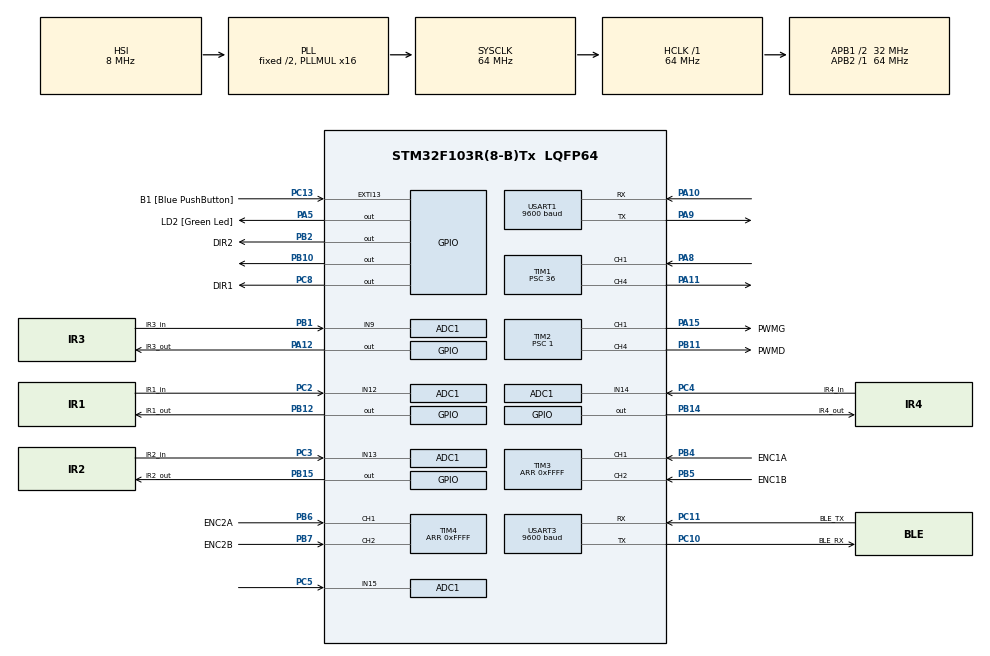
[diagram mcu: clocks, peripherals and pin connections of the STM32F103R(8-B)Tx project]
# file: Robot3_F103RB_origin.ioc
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ADC1.AWD1HighThreshold=4095
ADC1.AWD1ITMode=ENABLE
ADC1.AWD1LowThreshold=2457
ADC1.Channel-0\#ChannelRegularConversion=ADC_CHANNEL_9
ADC1.Channel-1\#ChannelRegularConversion=ADC_CHANNEL_12
ADC1.Channel-2\#ChannelRegularConversion=ADC_CHANNEL_13
ADC1.Channel-3\#ChannelRegularConversion=ADC_CHANNEL_14
ADC1.Channel-4\#ChannelRegularConversion=ADC_CHANNEL_15
ADC1.ContinuousConvMode=DISABLE
ADC1.DataAlign=ADC_DATAALIGN_RIGHT
ADC1.DiscontinuousConvMode=DISABLE
ADC1.EnableAnalogWatchDog=true
ADC1.EnableRegularConversion=ENABLE
ADC1.ExternalTrigConv=ADC_SOFTWARE_START
ADC1.InjNumberOfConversion=0
ADC1.NbrOfConversion=5
ADC1.NbrOfConversionFlag=1
ADC1.Rank-0\#ChannelRegularConversion=1
ADC1.Rank-1\#ChannelRegularConversion=2
ADC1.Rank-2\#ChannelRegularConversion=3
ADC1.Rank-3\#ChannelRegularConversion=4
ADC1.Rank-4\#ChannelRegularConversion=5
ADC1.SamplingTime-0\#ChannelRegularConversion=ADC_SAMPLETIME_239CYCLES_5
ADC1.SamplingTime-1\#ChannelRegularConversion=ADC_SAMPLETIME_239CYCLES_5
ADC1.SamplingTime-2\#ChannelRegularConversion=ADC_SAMPLETIME_239CYCLES_5
ADC1.SamplingTime-3\#ChannelRegularConversion=ADC_SAMPLETIME_239CYCLES_5
ADC1.SamplingTime-4\#ChannelRegularConversion=ADC_SAMPLETIME_239CYCLES_5
ADC1.ScanConvMode=ADC_SCAN_ENABLE
ADC1.WatchdogChannel=ADC_CHANNEL_15
ADC1.master=1
Dma.ADC1.0.Direction=DMA_PERIPH_TO_MEMORY
Dma.ADC1.0.Instance=DMA1_Channel1
Dma.ADC1.0.MemDataAlignment=DMA_MDATAALIGN_HALFWORD
Dma.ADC1.0.MemInc=DMA_MINC_ENABLE
Dma.ADC1.0.Mode=DMA_CIRCULAR
Dma.ADC1.0.PeriphDataAlignment=DMA_PDATAALIGN_HALFWORD
Dma.ADC1.0.PeriphInc=DMA_PINC_DISABLE
Dma.ADC1.0.Priority=DMA_PRIORITY_LOW
Dma.Request0=ADC1
Mcu.Family=STM32F1
Mcu.Name=STM32F103R(8-B)Tx
Mcu.Package=LQFP64
NVIC.ADC1_2_IRQn=true\:0\:0\:false\:false\:true\:true\:true
NVIC.DMA1_Channel1_IRQn=true\:0\:0\:false\:false\:true\:true\:true
NVIC.EXTI15_10_IRQn=true\:0\:0\:false\:true\:true\:1\:true\:true
NVIC.PriorityGroup=NVIC_PRIORITYGROUP_4
NVIC.TIM1_CC_IRQn=true\:0\:0\:false\:false\:true\:true\:true
NVIC.TIM2_IRQn=true\:0\:0\:false\:false\:true\:true\:true
NVIC.USART1_IRQn=true\:0\:0\:false\:false\:true\:true\:true
NVIC.USART3_IRQn=true\:0\:0\:false\:true\:true\:2\:true\:true
PA10.Mode=Asynchronous
PA10.Signal=USART1_RX
PA11.Signal=S_TIM1_CH4
PA12.GPIO_Label=IR3_out
PA12.Signal=GPIO_Output
PA13.GPIO_Label=TMS
PA13.Mode=Serial_Wire
PA13.Signal=SYS_JTMS-SWDIO
PA14.GPIO_Label=TCK
PA14.Mode=Serial_Wire
PA14.Signal=SYS_JTCK-SWCLK
PA15.GPIO_Label=PWMG
PA15.Signal=S_TIM2_CH1_ETR
PA2.GPIO_Label=USART_TX
PA2.GPIO_Mode=GPIO_MODE_AF_PP
PA2.GPIO_PuPd=GPIO_NOPULL
PA2.GPIO_Speed=GPIO_SPEED_FREQ_LOW
PA2.Signal=USART2_TX
PA3.GPIO_Label=USART_RX
PA3.GPIO_Mode=GPIO_MODE_AF_PP
PA3.GPIO_PuPd=GPIO_NOPULL
PA3.GPIO_Speed=GPIO_SPEED_FREQ_LOW
PA3.Signal=USART2_RX
PA5.GPIO_Label=LD2 [Green Led]
PA5.GPIO_ModeDefaultOutputPP=GPIO_MODE_OUTPUT_PP
PA5.GPIO_PuPd=GPIO_NOPULL
PA5.GPIO_Speed=GPIO_SPEED_FREQ_LOW
PA5.Signal=GPIO_Output
PA8.Signal=S_TIM1_CH1
PA9.Mode=Asynchronous
PA9.Signal=USART1_TX
PB1.GPIO_Label=IR3_in
PB1.Signal=ADCx_IN9
PB10.Signal=GPIO_Output
PB11.GPIO_Label=PWMD
PB11.Signal=S_TIM2_CH4
PB12.GPIO_Label=IR1_out
PB12.Signal=GPIO_Output
PB14.GPIO_Label=IR4_out
PB14.Signal=GPIO_Output
PB15.GPIO_Label=IR2_out
PB15.Signal=GPIO_Output
PB2.GPIO_Label=DIR2
PB2.Signal=GPIO_Output
PB3.GPIO_Label=SWO
PB3.Signal=SYS_JTDO-TRACESWO
PB4.GPIO_Label=ENC1A
PB4.Signal=S_TIM3_CH1
PB5.GPIO_Label=ENC1B
PB5.Signal=S_TIM3_CH2
PB6.GPIO_Label=ENC2A
PB6.Signal=S_TIM4_CH1
PB7.GPIO_Label=ENC2B
PB7.Signal=S_TIM4_CH2
PC10.GPIO_Label=BLE_RX
PC10.Mode=Asynchronous
PC10.Signal=USART3_TX
PC11.GPIO_Label=BLE_TX
PC11.Mode=Asynchronous
PC11.Signal=USART3_RX
PC13-TAMPER-RTC.GPIO_Label=B1 [Blue PushButton]
PC13-TAMPER-RTC.GPIO_ModeDefaultEXTI=GPIO_MODE_IT_FALLING
PC13-TAMPER-RTC.GPIO_PuPd=GPIO_NOPULL
PC13-TAMPER-RTC.Signal=GPXTI13
PC14-OSC32_IN.Signal=RCC_OSC32_IN
PC15-OSC32_OUT.Signal=RCC_OSC32_OUT
PC2.GPIO_Label=IR1_in
PC2.Signal=ADCx_IN12
PC3.GPIO_Label=IR2_in
PC3.Signal=ADCx_IN13
PC4.GPIO_Label=IR4_in
PC4.Signal=ADCx_IN14
PC5.Signal=ADCx_IN15
PC8.GPIO_Label=DIR1
PC8.Signal=GPIO_Output
PD0-OSC_IN.Signal=RCC_OSC_IN
PD1-OSC_OUT.Signal=RCC_OSC_OUT
ProjectManager.HeapSize=0x200
ProjectManager.StackSize=0x400
ProjectManager.TargetToolchain=STM32CubeIDE
RCC.ADCPresc=RCC_ADCPCLK2_DIV8
RCC.AHBFreq_Value=64000000
RCC.APB1CLKDivider=RCC_HCLK_DIV2
RCC.APB1Freq_Value=32000000
RCC.APB1TimFreq_Value=64000000
RCC.APB2Freq_Value=64000000
RCC.APB2TimFreq_Value=64000000
RCC.HCLKFreq_Value=64000000
RCC.PLLMUL=RCC_PLL_MUL16
RCC.SYSCLKFreq_VALUE=64000000
RCC.SYSCLKSource=RCC_SYSCLKSOURCE_PLLCLK
RCC.USBFreq_Value=64000000
SH.ADCx_IN12.0=ADC1_IN12,IN12
SH.ADCx_IN13.0=ADC1_IN13,IN13
SH.ADCx_IN14.0=ADC1_IN14,IN14
SH.ADCx_IN15.0=ADC1_IN15,IN15
SH.ADCx_IN9.0=ADC1_IN9,IN9
SH.S_TIM1_CH1.0=TIM1_CH1,PWM_Input_1
SH.S_TIM1_CH4.0=TIM1_CH4,PWM Generation4 CH4
SH.S_TIM2_CH1_ETR.0=TIM2_CH1,PWM Generation1 CH1
SH.S_TIM2_CH4.0=TIM2_CH4,PWM Generation4 CH4
SH.S_TIM3_CH1.0=TIM3_CH1,Encoder_Interface
SH.S_TIM3_CH2.0=TIM3_CH2,Encoder_Interface
SH.S_TIM4_CH1.0=TIM4_CH1,Encoder_Interface
SH.S_TIM4_CH2.0=TIM4_CH2,Encoder_Interface
TIM1.AutoReloadPreload=TIM_AUTORELOAD_PRELOAD_ENABLE
TIM1.Channel-PWM\ Generation4\ CH4=TIM_CHANNEL_4
TIM1.ICFilter_1=6
TIM1.ICFilter_2=6
TIM1.Prescaler=36
TIM1.Pulse-PWM\ Generation4\ CH4=2595
TIM2.AutoReloadPreload=TIM_AUTORELOAD_PRELOAD_DISABLE
TIM2.Channel-PWM\ Generation1\ CH1=TIM_CHANNEL_1
TIM2.Channel-PWM\ Generation4\ CH4=TIM_CHANNEL_4
TIM2.Period=64000
TIM2.Prescaler=1
TIM3.AutoReloadPreload=TIM_AUTORELOAD_PRELOAD_ENABLE
TIM3.EncoderMode=TIM_ENCODERMODE_TI12
TIM3.IC1Filter=8
TIM3.IC1Polarity=TIM_ICPOLARITY_RISING
TIM3.IC2Filter=8
TIM3.IC2Polarity=TIM_ICPOLARITY_RISING
TIM3.Period=0xFFFF
TIM4.AutoReloadPreload=TIM_AUTORELOAD_PRELOAD_ENABLE
TIM4.EncoderMode=TIM_ENCODERMODE_TI12
TIM4.IC1Filter=8
TIM4.IC1Polarity=TIM_ICPOLARITY_RISING
TIM4.IC2Filter=8
TIM4.IC2Polarity=TIM_ICPOLARITY_RISING
TIM4.Period=0xFFFF
USART1.BaudRate=9600
USART1.VirtualMode=VM_ASYNC
USART3.BaudRate=9600
USART3.VirtualMode=VM_ASYNC
VP_TIM1_VS_ClockSourceINT.Mode=Internal
VP_TIM2_VS_ClockSourceINT.Mode=Internal
board=NUCLEO-F103RB

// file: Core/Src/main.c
/* USER CODE BEGIN Header */
/**
  ******************************************************************************
  * @file           : main.c
  * @brief          : Main program body
  ******************************************************************************
  * @attention
  *
  * <h2><center>&copy; Copyright (c) 2020 STMicroelectronics.
  * All rights reserved.</center></h2>
  *
  * This software component is licensed by ST under BSD 3-Clause license,
  * the "License"; You may not use this file except in compliance with the
  * License. You may obtain a copy of the License at:
  *                        opensource.org/licenses/BSD-3-Clause
  *
  ******************************************************************************
  */
/* USER CODE END Header */
#include "main.h"
#include "adc.h"
#include "dma.h"
#include "tim.h"
#include "usart.h"
#include "gpio.h"
#include "stdlib.h"

/* USER CODE BEGIN Includes */
#include <stdlib.h>
#include <stdio.h>
#include <stdbool.h>
#include <time.h>
/* USER CODE END Includes */

/* USER CODE BEGIN PV */
#define AVANCE 	GPIO_PIN_SET
#define RECULE  GPIO_PIN_RESET
#define POURCENT 640
#define Seuil_Dist_4 1600 // corespond à 10 cm.
#define Seuil_Dist_3 1600
#define Seuil_Dist_1 1600
#define Seuil_Dist_2 1600
#define V1 38
#define V2 56
#define V3 76
#define Vmax 95
#define T_2_S 1000 //( pwm période = 2 ms ) sonar
#define T_200_MS 100
#define T_2000_MS 1000
#define CKp_D 100  //80 Robot1
#define CKp_G 100  //80 Robot1
#define CKi_D 80  //50 Robot1
#define CKi_G 80  //50 Robot1
#define CKd_D 0
#define CKd_G 0
#define DELTA 0x50
//added define
#define T_50_MS 25 // autopilotage cycle
#define Servo_Z 4000 //4400 angle 180
#define Servo_Y 800 //880 angle 90
#define Servo_X 2200 //2500 angle zero

#define T_WAIT_ADD 200 //wait for address
#define Top_50cm 867//877 // 19 pulses 1tour
#define Top_90degL 420 // on peut faire des ajustements sur ces trois valeur pour régler la direction du mvt robot
#define Top_90degR 390
#define ConvCst 0.176 //0.176
#define RegX 200
#define BrdHead 0xFFFF //brodcasthead
#define DemMsg 0xEEDD  // demande addresse
//add
#define Add16 0xBFBF  //to change for each robot
#define sonar50cm 5100//5028

enum CMDE {
	START, STOP,
	AVANT, ARRIERE,
	DROITE, GAUCHE,
	Cmd_PARK, Cmd_Att_PARK
};
volatile enum CMDE CMDE;
enum MODE {
	SLEEP, ACTIF, Park, Att_Park
};
//added enum
//enum SELECT_MUR {mur_a,mur_g,mur_d};
//volatile enum SELECT_MUR Select_Mur ;//= mur_d;

volatile enum MODE Mode;
volatile unsigned char New_CMDE = 0;
volatile uint16_t Dist_ACS_1, Dist_ACS_2, Dist_ACS_3, Dist_ACS_4;
volatile unsigned int Time = 0;
volatile unsigned int Tech = 0;

//added time counter
volatile unsigned int T_AP = 0;
volatile unsigned int T_servo = 0;
volatile unsigned int T_phase = 0;
volatile unsigned int T_rnd =0;
volatile unsigned int ServoSel=0;
volatile unsigned int calibration=0;
uint16_t adc_buffer[10]; //[8]
uint16_t Buff_Dist[8];
uint8_t BLUE_RX; //bluetooth reception
//added1 variables
uint16_t Xbee_RX[4]; // 4 case? CHACUNE= 16 bits=2octects
uint16_t Xbee_TX[4];
uint16_t header;
//uint8_t Ack_TX[4]={'R','E','A','D'};
//uint8_t Brd_head[2] = {'F','F'};
//uint16_t Brd_head = 0xFFFF;

uint16_t Add_dest;
uint16_t sonarDist =0 ;
uint16_t DistX =0;//1883;
uint16_t DistY =0;//4277;
uint16_t DistZ =0;//4500;
uint16_t sonarWidth =0;

char is_turned = 0;
int16_t DistD_base=0,DistG_base =0;
int16_t currentTopR=0;
int16_t currentTopL=0;
volatile char received_Dem =0;
volatile char received_Coord =0;
volatile char received_Add=0;
volatile char is_first=1;
volatile char received_other=0;
int cpt_servo = 0;

uint16_t _DirG, _DirD, CVitG, CVitD, DirD, DirG;
uint16_t _CVitD = 0;
uint16_t _CVitG = 0;
uint16_t VitD, VitG;
int16_t DistD, DistG;
int16_t DistD_old = 0;
int16_t DistG_old = 0;
int Cmde_VitD = 0;
int Cmde_VitG = 0;
unsigned long Dist_parcours = 0;
volatile uint32_t Dist_Obst;
uint32_t Dist_Obst_;
uint32_t Dist_Obst_cm;
uint32_t Dist;
uint8_t UNE_FOIS = 1;
uint32_t OV = 0;
int t_wait=0;
unsigned int T_WAIT;
uint16_t RegServoX=0,RegServoY=0,RegServoZ=0;
//srand(T_rnd);

/* USER CODE END PV */

void SystemClock_Config(void);
static void MX_NVIC_Init(void);
/* USER CODE BEGIN PFP */
void Gestion_Commandes(void);
void regulateur(void);
void controle(void);
void Calcul_Vit(void);
void ACS(void);
//added funct
void Pilotage_Auto(void); //park_assist
void LD2(bool); //test d'envoi
void testServo(void);
/* USER CODE END PFP */

int main(void)
{

  /* MCU Configuration--------------------------------------------------------*/

  /* Reset of all peripherals, Initializes the Flash interface and the Systick. */
  HAL_Init();
  /* USER CODE BEGIN Init */
  Dist_Obst = 0;
  /* USER CODE END Init */

  /* Configure the system clock */
  SystemClock_Config();
  /* Initialize all configured peripherals */
  MX_GPIO_Init();
  MX_DMA_Init();
  MX_ADC1_Init();
  MX_TIM2_Init();
  MX_TIM3_Init();
  MX_TIM4_Init();
  MX_USART3_UART_Init();
  MX_TIM1_Init();
  MX_USART1_UART_Init();
  /* Initialize interrupts */
  MX_NVIC_Init();
  /* USER CODE BEGIN 2 */
  	  	HAL_SuspendTick(); // suppresion des Tick interrupt pour le mode sleep.

    	HAL_TIM_PWM_Start(&htim2, TIM_CHANNEL_4);  // Start PWM motor
    	HAL_TIM_PWM_Start(&htim2, TIM_CHANNEL_1);
    	CMDE = STOP;
    	New_CMDE = 1;
    	HAL_TIM_Base_Start_IT(&htim2);  // Start IT sur font montant PWM
    	HAL_TIM_Encoder_Start(&htim3, TIM_CHANNEL_ALL); //encodeur
    	HAL_TIM_Encoder_Start(&htim4, TIM_CHANNEL_ALL); //encodeur
    	HAL_UART_Receive_IT(&huart3, &BLUE_RX, 1); //bluetooth

    	//added2
    	HAL_TIM_IC_Start_IT(&htim1, TIM_CHANNEL_2);//Capture frt desc
    	HAL_TIM_PWM_Start(&htim1,TIM_CHANNEL_4);//PWM
    	HAL_UART_Receive_IT(&huart1, Xbee_RX,8); // 8bytes, Xbee sur uart1
    	__HAL_TIM_SET_COMPARE (&htim1,TIM_CHANNEL_4,Servo_X); //initialement à la position zero
  /* USER CODE END 2 */

  /* Infinite loop */
  /* USER CODE BEGIN WHILE */
  while (1)
  {
	  Gestion_Commandes();
	  controle();
	  Pilotage_Auto();
    /* USER CODE END WHILE */

  }
}

void SystemClock_Config(void)
{
  RCC_OscInitTypeDef RCC_OscInitStruct = {0};
  RCC_ClkInitTypeDef RCC_ClkInitStruct = {0};
  RCC_PeriphCLKInitTypeDef PeriphClkInit = {0};
  /** Initializes the RCC Oscillators according to the specified parameters
  * in the RCC_OscInitTypeDef structure.
  */
  RCC_OscInitStruct.OscillatorType = RCC_OSCILLATORTYPE_HSI;
  RCC_OscInitStruct.HSIState = RCC_HSI_ON;
  RCC_OscInitStruct.HSICalibrationValue = RCC_HSICALIBRATION_DEFAULT;
  RCC_OscInitStruct.PLL.PLLState = RCC_PLL_ON;
  RCC_OscInitStruct.PLL.PLLSource = RCC_PLLSOURCE_HSI_DIV2;
  RCC_OscInitStruct.PLL.PLLMUL = RCC_PLL_MUL16;
  if (HAL_RCC_OscConfig(&RCC_OscInitStruct) != HAL_OK)
  {
    Error_Handler();
  }
  /** Initializes the CPU, AHB and APB buses clocks
  */
  RCC_ClkInitStruct.ClockType = RCC_CLOCKTYPE_HCLK|RCC_CLOCKTYPE_SYSCLK
                              |RCC_CLOCKTYPE_PCLK1|RCC_CLOCKTYPE_PCLK2;
  RCC_ClkInitStruct.SYSCLKSource = RCC_SYSCLKSOURCE_PLLCLK;
  RCC_ClkInitStruct.AHBCLKDivider = RCC_SYSCLK_DIV1;
  RCC_ClkInitStruct.APB1CLKDivider = RCC_HCLK_DIV2;
  RCC_ClkInitStruct.APB2CLKDivider = RCC_HCLK_DIV1;

  if (HAL_RCC_ClockConfig(&RCC_ClkInitStruct, FLASH_LATENCY_2) != HAL_OK)
  {
    Error_Handler();
  }
  PeriphClkInit.PeriphClockSelection = RCC_PERIPHCLK_ADC;
  PeriphClkInit.AdcClockSelection = RCC_ADCPCLK2_DIV8;
  if (HAL_RCCEx_PeriphCLKConfig(&PeriphClkInit) != HAL_OK)
  {
    Error_Handler();
  }
}

/**
  * @brief NVIC Configuration.
  * @retval None
  */
static void MX_NVIC_Init(void)
{
  /* EXTI15_10_IRQn interrupt configuration */
  HAL_NVIC_SetPriority(EXTI15_10_IRQn, 0, 0);
  HAL_NVIC_EnableIRQ(EXTI15_10_IRQn);
  /* USART3_IRQn interrupt configuration */
  HAL_NVIC_SetPriority(USART3_IRQn, 0, 0);
  HAL_NVIC_EnableIRQ(USART3_IRQn);
}

/* USER CODE BEGIN 4 */
void Gestion_Commandes(void) {
	enum ETAT {
		VEILLE, ARRET,
		AV1, AV2, AV3, RV1, RV2, RV3,
		DV1, DV2, DV3, GV1, GV2, GV3,
		PARK, Att_PARK
	};
	static enum ETAT Etat = VEILLE;

	if (New_CMDE) {
			New_CMDE = 0;
		switch (CMDE) {
			case STOP: { _CVitD = _CVitG = 0;
				// Mise en sommeil: STOP mode , réveil via IT BP1
				Etat = VEILLE; Mode = SLEEP;
				break;
			}
			case START: {
				// réveil sytème grace à l'IT BP1
				Etat = ARRET; Mode = SLEEP;
				break;
			}
			case AVANT: {
				switch (Etat) {
					case VEILLE: {
						Etat = VEILLE; Mode = SLEEP;
						break;
					}
					case ARRET: {
						_DirG = AVANCE; _DirD = AVANCE; _CVitG = V1; _CVitD = V1; Etat = AV1; Mode = ACTIF;
						break;
					}
					case AV1: {
						_DirG = AVANCE; _DirD = AVANCE; _CVitG = V2; _CVitD = V2; Etat = AV2; Mode = ACTIF;
						break;
					}
					case AV2: {
						_DirG = AVANCE; _DirD = AVANCE; _CVitG = V3; _CVitD = V3 ; Etat = AV3; Mode = ACTIF;
						break;
					}
					case AV3: {
						_DirG = AVANCE; _DirD = AVANCE; _CVitG = V3; _CVitD = V3 ; Etat = AV3; Mode = ACTIF;
						break;
					}
					case RV1: {
						_DirG = RECULE; _DirD = RECULE; _CVitG = 0; _CVitD = 0; Etat = ARRET; Mode = SLEEP;
						break;
					}
					case RV2: {
						_DirG = RECULE; _DirD = RECULE; _CVitG = V1; _CVitD = V1; Etat = RV1; Mode = ACTIF;
						break;
					}
					case RV3: {
						_DirG = RECULE; _DirD = RECULE; _CVitG = V2; _CVitD = V2; Etat = RV2; Mode = ACTIF;
						break;
					}
					case DV1: {
						_DirG = AVANCE; _DirD = AVANCE; _CVitG = V1; _CVitD = V1; Etat = AV1; Mode = ACTIF;
						break;
					}
					case DV2: {
						_DirG = AVANCE; _DirD = AVANCE; _CVitG = V2; _CVitD = V2; Etat = AV2; Mode = ACTIF;
						break;
					}
					case DV3: {
						_DirG = AVANCE; _DirD = AVANCE; _CVitG = V3; _CVitD = V3; Etat = AV3; Mode = ACTIF;
						break;
					}
					case GV1: {
						_DirG = AVANCE; _DirD = AVANCE; _CVitG = V1; _CVitD = V1; Etat = AV2; Mode = ACTIF;
						break;
					}
					case GV2: {
						_DirG = AVANCE; _DirD = AVANCE; _CVitG = V2; _CVitD = V2; Etat = AV2; Mode = ACTIF;
						break;
					}
					case GV3: {
						_DirG = AVANCE; _DirD = AVANCE; _CVitG = V3; _CVitD = V3; Etat = AV3; Mode = ACTIF;
						break;
					}
					case Att_PARK:{
						_DirG = AVANCE; _DirD = AVANCE; _CVitG = V2; _CVitD = V2; Etat = Att_PARK ; Mode = ACTIF;
						break;
					}
				}
				break;
			}
			case ARRIERE: {
				switch (Etat) {
					case VEILLE: {
						Etat = VEILLE; Mode = SLEEP;
						break;
					}
					case ARRET: {
						_DirG = RECULE; _DirD = RECULE; _CVitG = V1; _CVitD = V1; Etat = RV1; Mode = ACTIF;
						break;
					}
					case AV1: {
						_DirG = AVANCE; _DirD = AVANCE; _CVitG = 0; _CVitD = 0; Etat = ARRET; Mode = SLEEP;
						break;
					}
					case AV2: {
						_DirG = AVANCE; _DirD = AVANCE; _CVitG = V1; _CVitD = V1; Etat = AV1; Mode = ACTIF;
						break;
					}
					case AV3: {
						_DirG = AVANCE; _DirD = AVANCE; _CVitG = V2; _CVitD = V2; Etat = AV2; Mode = ACTIF;
						break;
					}
					case RV1: {
						_DirG = RECULE; _DirD = RECULE; _CVitG = V2; _CVitD = V2; Etat = RV2; Mode = ACTIF;
						break;
					}
					case RV2: {
						_DirG = RECULE; _DirD = RECULE; _CVitG = V3; _CVitD = V3; Etat = RV3; Mode = ACTIF;
						break;
					}
					case RV3: {
						_DirG = RECULE; _DirD = RECULE; _CVitG = V3; _CVitD = V3; Etat = RV3; Mode = ACTIF;
						break;
					}
					case DV1: {
						_DirG = RECULE; _DirD = RECULE; _CVitG = V1; _CVitD = V1; Etat = RV1; Mode = ACTIF;
						break;
					}
					case DV2: {
						_DirG = RECULE; _DirD = RECULE; _CVitG = V2; _CVitD = V2; Etat = RV2; Mode = ACTIF;
						break;
					}
					case DV3: {
						_DirG = RECULE; _DirD = RECULE; _CVitG = V3; _CVitD = V3; Etat = RV3; Mode = ACTIF;
						break;
					}
					case GV1: {
						_DirG = RECULE; _DirD = RECULE; _CVitG = V1; _CVitD = V1; Etat = RV1; Mode = ACTIF;
						break;
					}
					case GV2: {
						_DirG = RECULE; _DirD = RECULE; _CVitG = V2; _CVitD = V2; Etat = RV2; Mode = ACTIF;
						break;
					}
					case GV3: {
						_DirG = RECULE; _DirD = RECULE; _CVitG = V3; _CVitD = V3; Etat = RV3; Mode = ACTIF;
						break;
					}
					case Att_PARK:{
						_DirG = RECULE; _DirD = RECULE; _CVitG = V2; _CVitD = V2; Etat = Att_PARK ; Mode = ACTIF;
						break;
					}
				}
				break;
			}
			case DROITE: {
				switch (Etat) {
					case VEILLE: {
						Etat = VEILLE; Mode = SLEEP;
						break;
					}
					case ARRET: {
						_DirG = AVANCE; _DirD = RECULE; _CVitG = V1; _CVitD = V1; Etat = DV1; Mode = ACTIF;
						break;
					}
					case AV1: {
						_DirG = AVANCE; _DirD = RECULE; _CVitG = V1; _CVitD = V1; Etat = DV1; Mode = ACTIF;
						break;
					}
					case AV2: {
						_DirG = AVANCE; _DirD = RECULE; _CVitG = V2; _CVitD = V2; Etat = DV2; Mode = ACTIF;
						break;
					}
					case AV3: {
						_DirG = AVANCE; _DirD = RECULE; _CVitG = V3; _CVitD = V3; Etat = DV3; Mode = ACTIF;
						break;
					}
					case RV1: {
						_DirG = AVANCE; _DirD = RECULE; _CVitG = V1; _CVitD = V1; Etat = DV1; Mode = ACTIF;
						break;
					}
					case RV2: {
						_DirG = AVANCE; _DirD = RECULE; _CVitG = V2; _CVitD = V2; Etat = DV2; Mode = ACTIF;
						break;
					}
					case RV3: {
						_DirG = AVANCE; _DirD = RECULE; _CVitG = V3; _CVitD = V3; Etat = DV3; Mode = ACTIF;
						break;
					}
					case DV1: {
						_DirG = AVANCE; _DirD = RECULE; _CVitG = V2; _CVitD = V2; Etat = DV2; Mode = ACTIF;
						break;
					}
					case DV2: {
						_DirG = AVANCE; _DirD = RECULE; _CVitG = V3; _CVitD = V3; Etat = DV3; Mode = ACTIF;
						break;
					}
					case DV3: {
						_DirG = AVANCE; _DirD = RECULE; _CVitG = V3; _CVitD = V3; Etat = DV3; Mode = ACTIF;
						break;
					}
					case GV1: {
						_DirG = RECULE; _DirD = RECULE; _CVitG = 0; _CVitD = 0; Etat = ARRET; Mode = SLEEP;
						break;
					}
					case GV2: {
						_DirG = RECULE; _DirD = AVANCE; _CVitG = V1; _CVitD = V1; Etat = GV1; Mode = ACTIF;
						break;
					}
					case GV3: {
						_DirG = RECULE; _DirD = AVANCE; _CVitG = V2; _CVitD = V2; Etat = GV2; Mode = ACTIF;
						break;
					}
					case Att_PARK:{
						_DirG = AVANCE; _DirD = RECULE; _CVitG = V1; _CVitD = V1; Etat = Att_PARK ; Mode = ACTIF;
						break;
					}
				}
				break;
			}
			case GAUCHE: {
				switch (Etat) {
					case VEILLE: {
						Etat = VEILLE; Mode = SLEEP;
						break;
					}
					case ARRET: {
						_DirG = RECULE; _DirD = AVANCE; _CVitG = V1; _CVitD = V1; Etat = GV1; Mode = ACTIF;
						break;
					}
					case AV1: {
						_DirG = RECULE; _DirD = AVANCE; _CVitG = V1; _CVitD = V1; Etat = GV1; Mode = ACTIF;
						break;
					}
					case AV2: {
						_DirG = RECULE; _DirD = AVANCE; _CVitG = V2; _CVitD = V2; Etat = GV2; Mode = ACTIF;
						break;
					}
					case AV3: {
						_DirG = RECULE; _DirD = AVANCE; _CVitG = V3; _CVitD = V3; Etat = GV3; Mode = ACTIF;
						break;
					}
					case RV1: {
						_DirG = RECULE; _DirD = AVANCE; _CVitG = V1; _CVitD = V1; Etat = GV1; Mode = ACTIF;
						break;
					}
					case RV2: {
						_DirG = RECULE; _DirD = AVANCE; _CVitG = V2; _CVitD = V2; Etat = GV2; Mode = ACTIF;
						break;
					}
					case RV3: {
						_DirG = RECULE; _DirD = AVANCE; _CVitG = V3; _CVitD = V3; Etat = GV3; Mode = ACTIF;
						break;
					}
					case DV1: {
						_DirG = RECULE; _DirD = RECULE; _CVitG = 0; _CVitD = 0; Etat = ARRET; Mode = SLEEP;
						break;
					}
					case DV2: {
						_DirG = AVANCE; _DirD = RECULE; _CVitG = V1; _CVitD = V1; Etat = DV1; Mode = ACTIF;
						break;
					}
					case DV3: {
						_DirG = AVANCE; _DirD = RECULE; _CVitG = V2; _CVitD = V2; Etat = DV2; Mode = ACTIF;
						break;
					}
					case GV1: {
						_DirG = RECULE; _DirD = AVANCE; _CVitG = V2; _CVitD = V2; Etat = GV2; Mode = ACTIF;
						break;
					}
					case GV2: {
						_DirG = RECULE; _DirD = AVANCE; _CVitG = V3; _CVitD = V3; Etat = GV3; Mode = ACTIF;
						break;
					}
					case GV3: {
						_DirG = RECULE; _DirD = AVANCE; _CVitG = V3; _CVitD = V3; Etat = GV3; Mode = ACTIF;
						break;
					}
					case Att_PARK:{
						_DirG = RECULE; _DirD = AVANCE; _CVitG = V1; _CVitD = V1; Etat = Att_PARK ; Mode = ACTIF;
						break;
					}
				}
				break;
			}
			//added Gestion
			case Cmd_PARK: {
				switch (Etat) {
					case VEILLE: {
						Etat = VEILLE; Mode = SLEEP; // on doit obligatoirement de faire start avant les commandes park et attente park
						break;
					}
					case ARRET: {
						//Etat= CALC_POS;//ARRET; //Etat = park;
						Etat = PARK; Mode= Park;
						break;
					}
				}
				break;
			}
			case Cmd_Att_PARK: {
				switch (Etat) {
					case VEILLE: {
						Etat = VEILLE;
						Mode = SLEEP;
						break;
					}
					case ARRET: {
						Etat= Att_PARK;//ARRET;
						Mode= Att_Park;
						break;
					}
				}
			}
		}
	}
}
void controle(void) {
	if (Tech >= T_200_MS) {
		Tech = 0;
		ACS();
		Calcul_Vit();
		regulateur();
	}
	currentTopR =  __HAL_TIM_GET_COUNTER(&htim3); // affectation des calculs de l'encodeur à ces deux valeurs
	currentTopL = -(__HAL_TIM_GET_COUNTER(&htim4));
}

void ACS(void) { //anticollision
	enum ETAT {
		ARRET, ACTIF
	};
	static enum ETAT Etat = ARRET;
	static uint16_t Delta1 = 0;
	static uint16_t Delta2 = 0;
	static uint16_t Delta3 = 0;
	static uint16_t Delta4 = 0;

	switch (Etat) {
		case ARRET: {
			if ( Mode == ACTIF || Mode == Park || Mode == Att_Park ) // on a ajouté Park et att_park
				Etat = ACTIF;
			else { // on annule les vitesses du robot
				CVitD = _CVitD;
				CVitG = _CVitG;
				DirD = _DirD;
				DirG = _DirG;
			}
			break;
		}
		case ACTIF: {
			if (Mode == SLEEP)
				Etat = ARRET;
			if ( _DirD == AVANCE && _DirG == AVANCE ) {
				if ((Dist_ACS_1 < Seuil_Dist_1 - Delta1) && (Dist_ACS_2 < Seuil_Dist_2 - Delta2)) {
					CVitD = _CVitD; CVitG = _CVitG; DirD = _DirD; DirG = _DirG;
					Delta1 = Delta2 = 0;
				}
				else if ((Dist_ACS_1 < Seuil_Dist_1) && (Dist_ACS_2 > Seuil_Dist_2)) {
					CVitD = V1; CVitG = V1; DirG = AVANCE; DirD = RECULE;
					Delta2 = DELTA;
				}
				else if ((Dist_ACS_1 > Seuil_Dist_1) && (Dist_ACS_2 < Seuil_Dist_2)) {
					CVitD = V1; CVitG = V1; DirD = AVANCE; DirG = RECULE;
					Delta1 = DELTA;
				}
				else if ((Dist_ACS_1 > Seuil_Dist_1) && (Dist_ACS_2 > Seuil_Dist_2)) {
					CVitD = 0; CVitG = 0; DirD = RECULE; DirG = RECULE;
				}
			}
			else if (_DirD == RECULE && _DirG == RECULE) {
				if ((Dist_ACS_3 < Seuil_Dist_3 - Delta3) && (Dist_ACS_4 < Seuil_Dist_4 - Delta4)) {
					CVitD = _CVitD; CVitG = _CVitG; DirD = _DirD; DirG = _DirG;
					Delta3 = Delta4 = 0;
				}
				else if ((Dist_ACS_3 > Seuil_Dist_3) && (Dist_ACS_4 < Seuil_Dist_4)) {
					CVitD = V1; CVitG = V1; DirD = AVANCE; DirG = RECULE;
					Delta3 = DELTA;
				}
				else if ((Dist_ACS_3 < Seuil_Dist_3) && (Dist_ACS_4 > Seuil_Dist_4)) {
					CVitD = V1; CVitG = V1; DirG = AVANCE; DirD = RECULE;
					Delta4 = DELTA;
				}
				else if ((Dist_ACS_3 > Seuil_Dist_3) && (Dist_ACS_4 > Seuil_Dist_4)) {
					CVitD = 0; CVitG = 0; DirD = RECULE; DirG = RECULE;
				}
			}
			else {
				CVitD = _CVitD; CVitG = _CVitG; DirD = _DirD; DirG = _DirG;
			}
			break;
		}
	}
}

void Calcul_Vit(void) {
	DistD = __HAL_TIM_GET_COUNTER(&htim3); // déjà dans la fonction de controle
	DistG = __HAL_TIM_GET_COUNTER(&htim4); // même
	VitD = abs(DistD - DistD_old);
	VitG = abs(DistG - DistG_old);
	DistD_old = DistD;
	DistG_old = DistG;
	if (DirD == DirG) {
		Dist_parcours = Dist_parcours + ((VitD + VitG) >> 1);
	}
}

void regulateur(void) {
	enum ETAT {
		ARRET, ACTIF
	};
	static enum ETAT Etat = ARRET;
	uint16_t Kp_D = CKp_D;
	uint16_t Kp_G = CKp_G;
	uint16_t Ki_D = CKi_D;
	uint16_t Ki_G = CKi_G;
	uint16_t Kd_D = CKd_D;
	uint16_t Kd_G = CKd_G;

	static int16_t ErreurD = 0;
	static int16_t ErreurG = 0;
	static int16_t ErreurD_old = 0;
	static int16_t ErreurG_old = 0;
	static int16_t S_erreursD = 0;
	static int16_t S_erreursG = 0;
	static int16_t V_erreurD = 0;
	static int16_t V_erreurG = 0;

	switch (Etat) {
	case ARRET: {
		if (Mode == ACTIF || Mode== Park || Mode== Att_Park)
			Etat = ACTIF;
		else {
			__HAL_TIM_SET_COMPARE(&htim2, TIM_CHANNEL_4, 0);
			__HAL_TIM_SET_COMPARE(&htim2, TIM_CHANNEL_1, 0);
			HAL_TIM_PWM_Stop(&htim2, TIM_CHANNEL_4);
			HAL_TIM_PWM_Stop(&htim2, TIM_CHANNEL_1);
			HAL_GPIO_WritePin(IR3_out_GPIO_Port, IR3_out_Pin, GPIO_PIN_RESET);
			HAL_GPIO_WritePin(IR4_out_GPIO_Port, IR4_out_Pin, GPIO_PIN_RESET);
			HAL_GPIO_WritePin(IR1_out_GPIO_Port, IR1_out_Pin, GPIO_PIN_RESET);
			HAL_GPIO_WritePin(IR2_out_GPIO_Port, IR2_out_Pin, GPIO_PIN_RESET);

			HAL_PWR_EnterSLEEPMode(PWR_LOWPOWERREGULATOR_ON,
					PWR_SLEEPENTRY_WFI);

			__HAL_TIM_SET_COMPARE(&htim2, TIM_CHANNEL_4, 0);
			__HAL_TIM_SET_COMPARE(&htim2, TIM_CHANNEL_1, 0);
			HAL_TIM_PWM_Start(&htim2, TIM_CHANNEL_4);
			HAL_TIM_PWM_Start(&htim2, TIM_CHANNEL_1);
			Time = 0;
		}
		break;
	}
	case ACTIF: {
		if ((CVitD != 0) && (CVitG != 0))
			Time = 0;
		if ((Mode == SLEEP) && (VitD == 0) && (VitG == 0) && Time > T_2_S)
			Etat = ARRET;
		else {
			ErreurD = CVitD - VitD;
			ErreurG = CVitG - VitG;
			S_erreursD += ErreurD;
			S_erreursG += ErreurG;
			V_erreurD = ErreurD - ErreurD_old;
			V_erreurG = ErreurG - ErreurG_old;
			ErreurD_old = ErreurD;
			ErreurG_old = ErreurG;
			Cmde_VitD = (unsigned int) Kp_D * (int) (ErreurD)
					+ (unsigned int) Ki_D * ((int) S_erreursD)
					+ (unsigned int) Kd_D * (int) V_erreurD;
			Cmde_VitG = (unsigned int) Kp_G * (int) (ErreurG)
					+ (unsigned int) Ki_G * ((int) S_erreursG)
					+ (unsigned int) Kd_G * (int) V_erreurG;

			//Cmde_VitD = _CVitD*640;
			//Cmde_VitG = _CVitG*640;
			//	DirD = _DirD;
			//	DirG= _DirG;
			if (Cmde_VitD < 0)
				Cmde_VitD = 0;
			if (Cmde_VitG < 0)
				Cmde_VitG = 0;
			if (Cmde_VitD > 100 * POURCENT)
				Cmde_VitD = 100 * POURCENT;
			if (Cmde_VitG > 100 * POURCENT)
				Cmde_VitG = 100 * POURCENT;
			__HAL_TIM_SET_COMPARE(&htim2, TIM_CHANNEL_1, (uint16_t ) Cmde_VitG);
			__HAL_TIM_SET_COMPARE(&htim2, TIM_CHANNEL_4, (uint16_t ) Cmde_VitD);
			HAL_GPIO_WritePin(DIR1_GPIO_Port, DIR1_Pin, (GPIO_PinState) DirD);
			HAL_GPIO_WritePin(DIR2_GPIO_Port, DIR2_Pin, (GPIO_PinState) DirG);

		}
		break;
	}
	}
}
void LD2(bool s){// pour être sûr qu'il y a envoie de l'add entre le robot park et le rb att_park
	if(s)
		HAL_GPIO_WritePin(LD2_GPIO_Port, LD2_Pin,GPIO_PIN_SET);
	else
		HAL_GPIO_WritePin(LD2_GPIO_Port, LD2_Pin,GPIO_PIN_RESET);

}
void Pilotage_Auto(void) {
	enum ETAT { ARRET,
				CALC_POS,
				park,
				att_park
		};
	static enum ETAT Etat = ARRET;
	enum SOUS_ETAT {EnvoyerCoord, AttenteAck,AttenteReply,tourne_servo,get_Dist,calc_xyz,phase1,phase2,phase3,DemandeAdd,EnvoyerAdd,AttDemAdd,AttPos
	};
	static enum SOUS_ETAT Sous_Etat = tourne_servo ; // doit être exécuter une seule fois
	enum SELECT_MUR { mur_a, mur_g, mur_d };
	static enum SELECT_MUR Select_Mur = mur_d;
	static uint8_t phase=0;

	if(T_AP>= T_50_MS) // temps d'échantillonage de la fonction pilotage
	{
		T_AP=0;
		switch (Etat) {
			case ARRET: {
				switch (Mode){
					case Park: {
						Etat = CALC_POS; //Etat = park;
						Sous_Etat= tourne_servo;
						//Select_Mur = mur_d;
						break;
					}
					case Att_Park: {
						Etat = att_park;
						Sous_Etat = AttDemAdd; // le robot qui est en attente park attend une demande d'adresse
						//Sous_Etat = phase1;
						break;
					}
				}
				break;
			}
			case CALC_POS: {
				switch (Sous_Etat){
					case tourne_servo:{
						if (T_servo++>=40){//40*50=2s pour mesurer une position x ou y ou z){
							HAL_GPIO_WritePin(GPIOB, GPIO_PIN_10, GPIO_PIN_SET); // enable sonar
							T_servo= 0;
							Sous_Etat = get_Dist;
						}
						else {
							switch (Select_Mur){
								case mur_a:{
									HAL_GPIO_WritePin(LD2_GPIO_Port, LD2_Pin,GPIO_PIN_SET);
									__HAL_TIM_SET_COMPARE (&htim1,TIM_CHANNEL_4,Servo_X+RegServoX); // RegServoX=0
									break;
								}
								case mur_g:{
									HAL_GPIO_WritePin(LD2_GPIO_Port, LD2_Pin,GPIO_PIN_SET);
									__HAL_TIM_SET_COMPARE (&htim1,TIM_CHANNEL_4,Servo_Z+RegServoZ);// RegServoZ=0
									break;
								}
								case mur_d:{ // en premier temps le sonar tourne vers la droite après avant après gauche
									HAL_GPIO_WritePin(LD2_GPIO_Port, LD2_Pin,GPIO_PIN_SET);
									__HAL_TIM_SET_COMPARE (&htim1,TIM_CHANNEL_4,Servo_Y+RegServoY);// RegServoY=0
									;
									break;
								}
							}
						}
						break;
					}
					case get_Dist: {
						switch (Select_Mur){
							case mur_a:{
								DistX = sonarWidth;
								Etat= park; Sous_Etat = DemandeAdd;
								break;
							}
							case mur_g:{
								DistZ = sonarWidth;
								Select_Mur = mur_a; Sous_Etat= tourne_servo;
								break;
							}
							case mur_d:{
								DistY = sonarWidth;
								Select_Mur = mur_g; Sous_Etat = tourne_servo;
								break;
							}
						}
						break;
					}
				}
				break;
			}
			case park: {
				switch (Sous_Etat) {
					case DemandeAdd:{ // robot park demande des addresses s'il y a des robots en attpark
						is_first =1;
						uint16_t Dem_TX[4]= {BrdHead,DemMsg,DemMsg,DemMsg};
						HAL_UART_Transmit(&huart1,Dem_TX,8,1000); //1s pour TimeOut au cas où il y a un problème // 8 =4*2
						LD2(true); // Led verte sur la carte
						Sous_Etat= AttenteReply;
						break;
					}
					case AttenteReply:{ // le robot park attend une réponse du robot attpark
						if(received_Add)
						{
							received_Add=0;
							Etat = park; Sous_Etat = EnvoyerCoord;
							LD2(false);
						}
						if(T_phase++>= T_WAIT_ADD){ //200*50=10s et il ne reçoit pas aucune réponse donc il va rien faire
							Etat= ARRET;
							CMDE = START;
							New_CMDE =1;
							//Mode= SLEEP;
						}
						break;
					}
					case EnvoyerCoord: {
						if (t_wait++>= 20){ //1s
							t_wait=0;
							uint16_t Coord_TX[4] = {Add_dest,DistX,DistY,DistZ};
							HAL_UART_Transmit(&huart1,Coord_TX,8,1000);
							Etat= ARRET;
							CMDE = START;
							New_CMDE =1;
							//Mode= SLEEP;
						}

						break;
					}

				break;
				}
			}
			case att_park:
			{
				switch (Sous_Etat) {
					case AttDemAdd:{
						LD2(true);
						if(received_Dem)
						{
							received_Dem=0;
							T_WAIT = (rand()*T_rnd)%80 +1; // attente un instant
							Sous_Etat= EnvoyerAdd;
						}
						break;
					}
					case EnvoyerAdd:{
						if (t_wait++>= T_WAIT && received_other==0){
							t_wait=0;
							LD2(false);
							uint16_t Add_TX[4]= {BrdHead,Add16,Add16,Add16};
							HAL_UART_Transmit(&huart1,Add_TX,8,1000);
							Sous_Etat= AttenteAck;
						}
						else if(received_other){
							received_other=0; // pour qu'il ne reçoit pas des adresses des autres robot qui ont en attente park
							Sous_Etat = AttDemAdd;
						}
						break;
					}
					case AttenteAck:{ // le rbt en attpark attend les trois positions du robot en park
						if(received_Coord){
							received_Coord=0;
							DistD_base = currentTopR; // position initiale
							DistG_base = currentTopL;
							Sous_Etat = phase1;
						}
						else if(received_other){
							received_other=0;
							Sous_Etat = AttDemAdd;
						}
						break;
					}
					case phase1:{

						switch (phase){
							case 0:{
								CMDE = AVANT; New_CMDE = 1; // en relation avec case attpark dans le cas AVANT en gestion de comm
								phase=1;
								break;
							}
							case 1:{
								if(currentTopR-DistD_base >= Top_50cm){
									_CVitG = 0; _CVitD = 0;
									if(T_phase++ >=30){//attente 1.5 s avant de continuer le mvt
										DistD_base =currentTopR;
										DistG_base =currentTopL;
										CMDE= GAUCHE; New_CMDE =1;
										phase=2;
										T_phase=0;
									}
								}
								break;
							}
							case 2:{
								if(abs(currentTopR-DistD_base)>=Top_90degL){ // pour qu'il tourne 90 degres left
									_CVitG = 0; _CVitD = 0;
									if(T_phase++ >=30){
										DistD_base =currentTopR;
										DistG_base =currentTopL;
										HAL_GPIO_WritePin(GPIOB, GPIO_PIN_10, GPIO_PIN_SET); // activer le sonar
										phase=0;
										Sous_Etat= phase2;
										T_phase=0;
									}
								}
								break;
							}

						}
						break;
					}
					case phase2:{
						switch(phase){
							case 0: {
								if(sonarWidth < DistZ){
									CMDE= ARRIERE; New_CMDE =1;
									phase=1;//6
								}
								else{
									CMDE= AVANT; New_CMDE =1;
									phase=2;//7
								}
								break;
							}
							case 1:{
								if(DistD_base-currentTopR >= (DistZ-sonarWidth)*ConvCst){//(Top_50cm) et ConvCst car on compare la valeur de sonar avec la valeur de l'encodeur
									//HAL_GPIO_WritePin(LD2_GPIO_Port, LD2_Pin,GPIO_PIN_RESET);
									_CVitG = 0; _CVitD = 0;
									phase=3;
								}
								break;
							}

							case 2:{
								if(currentTopR - DistD_base >= (sonarWidth-DistZ)*ConvCst){ //- Top_50cm){
									_CVitG = 0; _CVitD = 0;
									phase=3;
								}
								break;
							}
							case 3:{
								if(T_phase++ >=40){
									DistD_base=currentTopR;
									DistG_base=currentTopL;
									//HAL_GPIO_WritePin(LD2_GPIO_Port, LD2_Pin,GPIO_PIN_SET);
									CMDE= DROITE; New_CMDE =1;
									phase=4;
									T_phase=0;
								}
								break;
							}
							case 4:{
								if(abs(currentTopL - DistG_base) >= Top_90degR){
									_CVitG = 0; _CVitD = 0;
									if(T_phase++ >=30){
										DistD_base=currentTopR;
										DistG_base=currentTopL;
										HAL_GPIO_WritePin(GPIOB, GPIO_PIN_10, GPIO_PIN_SET);
										Sous_Etat = phase3;
										phase =0;
										T_phase=0;
									}
								}
								break;
							}
						}
						break;
					}
					case phase3:{
						switch(phase){
							case 0: {
									CMDE= AVANT; New_CMDE =1;
									phase=1;
								break;
							}
							case 1:{
								if(currentTopR - DistD_base>= (sonarWidth-DistX)*ConvCst-RegX){//500
									//HAL_GPIO_WritePin(LD2_GPIO_Port, LD2_Pin,GPIO_PIN_RESET);
									//CMDE= ARRIERE; New_CMDE =1;
									_CVitG = 0;
									_CVitD = 0;
									if(T_phase++ >=30){
										DistD_base=currentTopR;
										DistG_base=currentTopL;
										phase=0;
										Mode = Park;
										Sous_Etat = DemandeAdd;
										Etat = park;
									}
								}
								break;
							}
						}
						break;
					}
				}
				break;
			}

		}
	}
}
void HAL_UART_RxCpltCallback(UART_HandleTypeDef *huart) {
	if (huart->Instance == USART3) {

		switch (BLUE_RX) {
		case 'F': {
			CMDE = AVANT;
			//New_CMDE = 1;
			break;
		}

		case 'B': {
			CMDE = ARRIERE;
			//New_CMDE = 1;
			break;
		}

		case 'L': {
			CMDE = GAUCHE;
			//New_CMDE = 1;
			break;
		}

		case 'R': {
			CMDE = DROITE;
			//New_CMDE = 1;
			break;
		}

		case 'D':{
			// disconnect bluetooth
			break;
		}
		case 'W':{
			// PARK

			//HAL_UART_Transmit(&huart1,Xbee_TX,20,1000);
			CMDE = Cmd_PARK;
			//HAL_GPIO_WritePin(LD2_GPIO_Port, LD2_Pin,GPIO_PIN_SET);
			New_CMDE =1;
			break;
		}
		case 'w':{

			break;
		}
		case 'X':{
			CMDE= Cmd_Att_PARK;
			New_CMDE =1;
			break;
		}
		case 'x':{

			break;
		}
		case 'U' :{ //back light
					calibration=1;

					if(ServoSel%3==2)
					{
						RegServoY +=40;
						__HAL_TIM_SET_COMPARE (&htim1,TIM_CHANNEL_4,Servo_Y+RegServoY);
					}
					else if(ServoSel%3==1)
					{
						RegServoZ +=40;
						__HAL_TIM_SET_COMPARE (&htim1,TIM_CHANNEL_4,Servo_Z+RegServoZ);
					}
					else if(ServoSel%3==0)
					{
						RegServoX +=40;
						__HAL_TIM_SET_COMPARE (&htim1,TIM_CHANNEL_4,Servo_X+RegServoX);
					}
					break;
				}
				case 'u':{

					break;
				}
				case 'V':{ //horn
					calibration=1;

					if(ServoSel%3==2)
					{
						RegServoY -=40;
						__HAL_TIM_SET_COMPARE (&htim1,TIM_CHANNEL_4,Servo_Y+RegServoY);
					}
					if(ServoSel%3==1)
					{
						RegServoZ -=40;
						__HAL_TIM_SET_COMPARE (&htim1,TIM_CHANNEL_4,Servo_Z+RegServoZ);
					}
					if(ServoSel%3==0)
					{
						RegServoX -=40;
						__HAL_TIM_SET_COMPARE (&htim1,TIM_CHANNEL_4,Servo_X+RegServoX);
					}
					break;
				}
				case 'v': {

					break;
				}
		default:
			//if(calibration==0)
				New_CMDE = 1;
			//else
				//servo++;
		}

		HAL_UART_Receive_IT(&huart3, &BLUE_RX, 1);
	}
	else if (huart->Instance == USART1){
		header = Xbee_RX[0];
		if(header == BrdHead)
		{
			if (Mode == Park && is_first){ // robot park reçoit une trame = FFFF ==recoit une Add_dest d'un robot attpark
				received_Add = 1;
				Add_dest = Xbee_RX[1];
				is_first =0;
			}
			else{
				received_Dem = 1; // le roboot reçoit une demande== si le robot est non pas en park et reçoit FFFF
			}
		}
		else if(header== Add16) // le robot att_park reçoit les coord du robot park
		{
			DistX = Xbee_RX[1];
			DistY = Xbee_RX[2]-sonar50cm;
			DistZ = Xbee_RX[3]+sonar50cm;
			received_Coord = 1;
		}
		else{ // les autres inutiles
			received_other=1;
			received_Dem=0;
		}
		HAL_UART_Receive_IT(&huart1, Xbee_RX, 8);
	}
}

void HAL_ADC_ConvCpltCallback(ADC_HandleTypeDef *hadc) {

	Dist_ACS_3 = adc_buffer[0] - adc_buffer[5];//4
	Dist_ACS_4 = adc_buffer[3] - adc_buffer[8];//7
	Dist_ACS_1 = adc_buffer[1] - adc_buffer[6];//5
	Dist_ACS_2 = adc_buffer[2] - adc_buffer[7];//6
	HAL_ADC_Stop_DMA(hadc);
}

//added3 interrupts//

//Watchdog interrupt
void HAL_ADC_LevelOutOfWindowCallback(ADC_HandleTypeDef* hadc) //allumer led2 pour surveillance batterie
{
	HAL_GPIO_WritePin(LD2_GPIO_Port, LD2_Pin,GPIO_PIN_SET); // PC5
}

void HAL_TIM_IC_CaptureCallback(TIM_HandleTypeDef *htim) // mesure la distance de sonar
{
	HAL_GPIO_WritePin(GPIOB, GPIO_PIN_10, GPIO_PIN_RESET);
	sonarWidth = HAL_TIM_ReadCapturedValue(htim, TIM_CHANNEL_2); // IT pour retourner la valeur de sonarwidth
}

void HAL_TIM_PeriodElapsedCallback(TIM_HandleTypeDef * htim) {
	static unsigned char cpt = 0;

	if ( htim->Instance == TIM2) {
		cpt++;
		Time++;
		Tech++;
		T_AP++;
		T_rnd++; // timer a une valeur aléatoire pour différencier les temps de réponse des robots en attpark
		switch (cpt) {
		case 1: {
			HAL_GPIO_WritePin(IR3_out_GPIO_Port, IR3_out_Pin, GPIO_PIN_SET);
			HAL_GPIO_WritePin(IR4_out_GPIO_Port, IR4_out_Pin, GPIO_PIN_SET);
			HAL_GPIO_WritePin(IR1_out_GPIO_Port, IR1_out_Pin, GPIO_PIN_SET);
			HAL_GPIO_WritePin(IR2_out_GPIO_Port, IR2_out_Pin, GPIO_PIN_SET);
			break;
		}
		case 2: {
			HAL_ADC_Start_DMA(&hadc1, (uint32_t *) adc_buffer, 10);//8
			break;
		}
		case 3: {
			HAL_GPIO_WritePin(IR3_out_GPIO_Port, IR3_out_Pin, GPIO_PIN_RESET);
			HAL_GPIO_WritePin(IR4_out_GPIO_Port, IR4_out_Pin, GPIO_PIN_RESET);
			HAL_GPIO_WritePin(IR1_out_GPIO_Port, IR1_out_Pin, GPIO_PIN_RESET);
			HAL_GPIO_WritePin(IR2_out_GPIO_Port, IR2_out_Pin, GPIO_PIN_RESET);
			break;
		}
		case 4: {
			HAL_ADC_Start_DMA(&hadc1, (uint32_t *) adc_buffer, 10);//8;
			break;
		}
		default:
			cpt = 0;
		}
	}
}

void HAL_GPIO_EXTI_Callback(uint16_t GPIO_Pin) {

	static unsigned char TOGGLE = 0;
	if(calibration==0){
		if (TOGGLE){
			//CMDE = STOP;
			CMDE = Cmd_PARK;
		}
		else
			CMDE = START;
		TOGGLE = ~TOGGLE;
		New_CMDE = 1;
	}
	else{
		ServoSel++;
		calibration=0;
		TOGGLE=0;
	}
}

/* USER CODE END 4 */

void Error_Handler(void)
{
}

/************************ (C) COPYRIGHT STMicroelectronics *****END OF FILE****/
